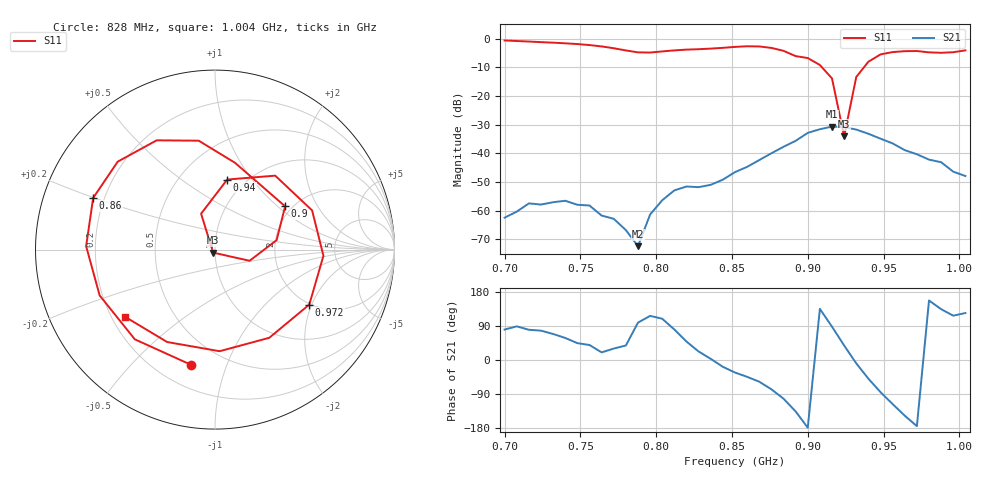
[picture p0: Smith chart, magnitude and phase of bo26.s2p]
# Hz S RI R 50
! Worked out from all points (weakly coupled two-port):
!   39 points, 700 MHz to 1.004 GHz, reference 50 ohm
!   highest |S21| = -30.67 dB at 916 MHz (marker M1); lowest = -72.3 dB at 788 MHz (marker M2)
!   lowest |S11| = -34.1 dB at 924 MHz (marker M3), VSWR 1.04, Z = 49 - j1.65 ohm
!   |S11| at or under -10 dB: 909.4 MHz to 937.1 MHz (27.66 MHz wide, 3 % of centre)
!   S12 and S22 are empty: the file has one direction only
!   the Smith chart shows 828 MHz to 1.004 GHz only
!   S11 on the Smith chart (normalised r, x): 828 MHz: 0.34, -0.75; 860 MHz: 0.16, +0.20; 900 MHz: 1.84, +1.12; 940 MHz: 0.83, +0.76; 972 MHz: 1.98, -1.92; 1.004 GHz: 0.26, -0.31
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7e8  0.7647 0.529  0.000128 0.000747  0 0  0 0
7.24e8  0.8289 -0.2611  0.00028 0.00125  0 0  0 0
7.4e8  0.4413 -0.702  0.000788 0.00127  0 0  0 0
7.56e8  -0.1993 -0.7466  0.000953 0.000787  0 0  0 0
7.72e8  -0.6559 -0.1819  0.000626 0.000364  0 0  0 0
7.88e8  -0.2069 0.5385  -3.63e-05 0.000239  0 0  0 0
8.04e8  0.5853 0.128  -0.000493 0.00145  0 0  0 0
8.2e8  0.2395 -0.5975  0.00175 0.00199  0 0  0 0
8.28e8  -0.1362 -0.6405  0.00239 0.000984  0 0  0 0
8.52e8  -0.7179 0.0188  0.00395 -0.00258  0 0  0 0
8.6e8  -0.6789 0.2877  0.00416 -0.00408  0 0  0 0
8.84e8  -0.0906 0.6067  -0.00272 -0.0128  0 0  0 0
9e8  0.3907 0.2409  -0.0228 -0.00053  0 0  0 0
9.08e8  0.3435 0.0529  -0.0186 0.0187  0 0  0 0
9.16e8  0.1928 -0.0623  0.00108 0.0293  0 0  0 0
9.24e8  -0.0103 -0.0169  0.0225 0.0178  0 0  0 0
9.32e8  -0.0774 0.2001  0.0257 -0.004  0 0  0 0
9.4e8  0.0681 0.3904  0.0143 -0.0167  0 0  0 0
9.56e8  0.5411 0.2183  -0.00663 -0.0134  0 0  0 0
9.72e8  0.5255 -0.3062  -0.00962 -0.000929  0 0  0 0
9.88e8  0.0258 -0.5661  -0.00489 0.00504  0 0  0 0
1.004e9  -0.4997 -0.3751  -0.00226 0.00335  0 0  0 0
